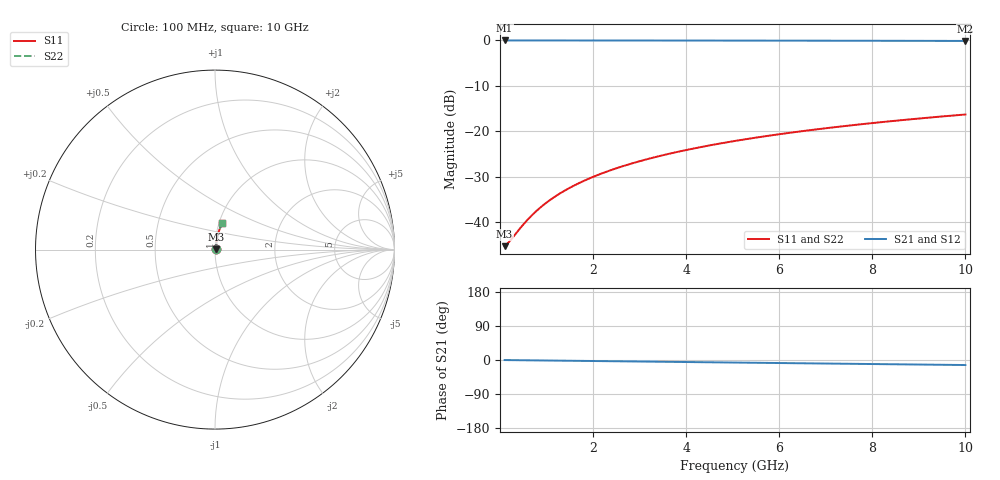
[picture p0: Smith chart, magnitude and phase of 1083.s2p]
# Hz S RI R 50.00
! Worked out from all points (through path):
!   100 points, 100 MHz to 10 GHz, reference 50 ohm
!   highest |S21| = -0.05 dB at 100 MHz (marker M1); lowest = -0.2 dB at 10 GHz (marker M2)
!   group delay of S21, straight-line fit = 3.69 ps
!   lowest |S11| = -45.3 dB at 100 MHz (marker M3), VSWR 1.01, Z = 50.5 + j0.155 ohm
!   |S11| at or under -10 dB: start of sweep to end of sweep
!   |S22| runs from -45.3 to -16.3 dB; largest |S21 - S12| = 0
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1e8  0.00521 0.00154  0.9948 -0.00232  0.9948 -0.00232  0.00521 0.00154
2e8  0.00526 0.00307  0.9947 -0.00464  0.9947 -0.00464  0.00526 0.00307
5e8  0.00539 0.00768  0.9946 -0.0116  0.9946 -0.0116  0.00539 0.00768
6e8  0.00545 0.00921  0.9945 -0.0139  0.9945 -0.0139  0.00545 0.00921
7e8  0.00551 0.0107  0.9945 -0.0162  0.9945 -0.0162  0.00551 0.0107
9e8  0.00565 0.0138  0.9943 -0.0209  0.9943 -0.0209  0.00565 0.0138
1.1e9  0.00581 0.0169  0.9941 -0.0255  0.9941 -0.0255  0.00581 0.0169
1.3e9  0.006 0.0199  0.9939 -0.0301  0.9939 -0.0301  0.006 0.0199
1.5e9  0.00622 0.023  0.9937 -0.0348  0.9937 -0.0348  0.00622 0.023
1.8e9  0.0066 0.0276  0.9933 -0.0417  0.9933 -0.0417  0.0066 0.0276
2.1e9  0.00703 0.0322  0.9928 -0.0487  0.9928 -0.0487  0.00703 0.0322
2.5e9  0.00772 0.0383  0.9921 -0.0579  0.9921 -0.0579  0.00772 0.0383
2.9e9  0.00851 0.0443  0.9912 -0.0671  0.9912 -0.0671  0.00851 0.0443
3.4e9  0.00966 0.0519  0.99 -0.0786  0.99 -0.0786  0.00966 0.0519
3.8e9  0.0107 0.058  0.9888 -0.0878  0.9888 -0.0878  0.0107 0.058
4.2e9  0.0119 0.064  0.9876 -0.0969  0.9876 -0.0969  0.0119 0.064
5.1e9  0.0149 0.0774  0.9843 -0.1175  0.9843 -0.1175  0.0149 0.0774
5.9e9  0.018 0.0892  0.9809 -0.1356  0.9809 -0.1356  0.018 0.0892
6.7e9  0.0215 0.1009  0.977 -0.1535  0.977 -0.1535  0.0215 0.1009
7.5e9  0.0255 0.1123  0.9727 -0.1713  0.9727 -0.1713  0.0255 0.1123
8.4e9  0.0305 0.1251  0.9672 -0.1911  0.9672 -0.1911  0.0305 0.1251
1e10  0.0406 0.147  0.9562 -0.2258  0.9562 -0.2258  0.0406 0.147
